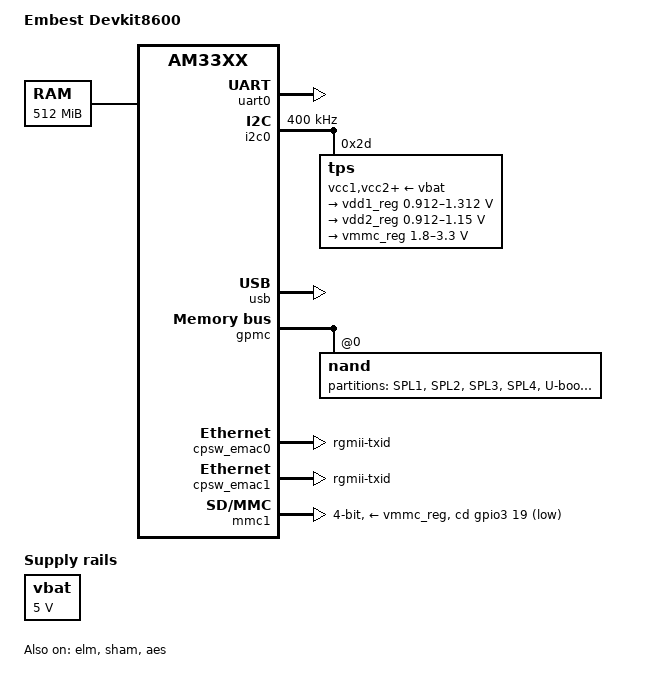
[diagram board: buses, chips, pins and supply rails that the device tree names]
/*
 * Copyright (C) 2012 Texas Instruments Incorporated - http://www.ti.com/
 *
 * This program is free software; you can redistribute it and/or modify
 * it under the terms of the GNU General Public License version 2 as
 * published by the Free Software Foundation.
 */
/dts-v1/;

#include "am33xx.dtsi"

/ {
	model = "Embest Devkit8600";
	compatible = "ti,devkit8600", "ti,am33xx";

	cpus {
		cpu@0 {
			cpu0-supply = <&vdd1_reg>;
		};
	};

	memory {
		device_type = "memory";
		reg = <0x80000000 0x20000000>; /* 512 MB */
	};

	vbat: fixedregulator@0 {
		compatible = "regulator-fixed";
		regulator-name = "vbat";
		regulator-min-microvolt = <5000000>;
		regulator-max-microvolt = <5000000>;
		regulator-boot-on;
	};
};

&am33xx_pinmux {
	pinctrl-names = "default";
	pinctrl-0 = <&matrix_keypad_s0 &volume_keys_s0 &clkout2_pin>;

	matrix_keypad_s0: matrix_keypad_s0 {
		pinctrl-single,pins = <
			0x54 (PIN_OUTPUT_PULLDOWN | MUX_MODE7)	/* gpmc_a5.gpio1_21 */
			0x58 (PIN_OUTPUT_PULLDOWN | MUX_MODE7)	/* gpmc_a6.gpio1_22 */
			0x64 (PIN_INPUT_PULLDOWN | MUX_MODE7)	/* gpmc_a9.gpio1_25 */
			0x68 (PIN_INPUT_PULLDOWN | MUX_MODE7)	/* gpmc_a10.gpio1_26 */
			0x6c (PIN_INPUT_PULLDOWN | MUX_MODE7)	/* gpmc_a11.gpio1_27 */
		>;
	};

	volume_keys_s0: volume_keys_s0 {
		pinctrl-single,pins = <
			0x150 (PIN_INPUT_PULLDOWN | MUX_MODE7)	/* spi0_sclk.gpio0_2 */
			0x154 (PIN_INPUT_PULLDOWN | MUX_MODE7)	/* spi0_d0.gpio0_3 */
		>;
	};

	i2c0_pins: pinmux_i2c0_pins {
		pinctrl-single,pins = <
			0x188 (PIN_INPUT_PULLUP | MUX_MODE0)	/* i2c0_sda.i2c0_sda */
			0x18c (PIN_INPUT_PULLUP | MUX_MODE0)	/* i2c0_scl.i2c0_scl */
		>;
	};

	i2c1_pins: pinmux_i2c1_pins {
		pinctrl-single,pins = <
			0x158 (PIN_INPUT_PULLUP | MUX_MODE2)	/* spi0_d1.i2c1_sda */
			0x15c (PIN_INPUT_PULLUP | MUX_MODE2)	/* spi0_cs0.i2c1_scl */
		>;
	};

	uart0_pins: pinmux_uart0_pins {
		pinctrl-single,pins = <
			0x170 (PIN_INPUT_PULLUP | MUX_MODE0)	/* uart0_rxd.uart0_rxd */
			0x174 (PIN_OUTPUT_PULLDOWN | MUX_MODE0)	/* uart0_txd.uart0_txd */
		>;
	};

	clkout2_pin: pinmux_clkout2_pin {
		pinctrl-single,pins = <
			0x1b4 (PIN_OUTPUT_PULLDOWN | MUX_MODE3)	/* xdma_event_intr1.clkout2 */
		>;
	};

	nandflash_pins_s0: nandflash_pins_s0 {
		pinctrl-single,pins = <
			0x0 (PIN_INPUT_PULLUP | MUX_MODE0)	/* gpmc_ad0.gpmc_ad0 */
			0x4 (PIN_INPUT_PULLUP | MUX_MODE0)	/* gpmc_ad1.gpmc_ad1 */
			0x8 (PIN_INPUT_PULLUP | MUX_MODE0)	/* gpmc_ad2.gpmc_ad2 */
			0xc (PIN_INPUT_PULLUP | MUX_MODE0)	/* gpmc_ad3.gpmc_ad3 */
			0x10 (PIN_INPUT_PULLUP | MUX_MODE0)	/* gpmc_ad4.gpmc_ad4 */
			0x14 (PIN_INPUT_PULLUP | MUX_MODE0)	/* gpmc_ad5.gpmc_ad5 */
			0x18 (PIN_INPUT_PULLUP | MUX_MODE0)	/* gpmc_ad6.gpmc_ad6 */
			0x1c (PIN_INPUT_PULLUP | MUX_MODE0)	/* gpmc_ad7.gpmc_ad7 */
			0x70 (PIN_INPUT_PULLUP | MUX_MODE0)	/* gpmc_wait0.gpmc_wait0 */
			0x74 (PIN_INPUT_PULLUP | MUX_MODE7)	/* gpmc_wpn.gpio0_30 */
			0x7c (PIN_OUTPUT | MUX_MODE0)		/* gpmc_csn0.gpmc_csn0  */
			0x90 (PIN_OUTPUT | MUX_MODE0)		/* gpmc_advn_ale.gpmc_advn_ale */
			0x94 (PIN_OUTPUT | MUX_MODE0)		/* gpmc_oen_ren.gpmc_oen_ren */
			0x98 (PIN_OUTPUT | MUX_MODE0)		/* gpmc_wen.gpmc_wen */
			0x9c (PIN_OUTPUT | MUX_MODE0)		/* gpmc_be0n_cle.gpmc_be0n_cle */
		>;
	};

	ecap0_pins: backlight_pins {
		pinctrl-single,pins = <
			0x164 0x0	/* eCAP0_in_PWM0_out.eCAP0_in_PWM0_out MODE0 */
		>;
	};

	cpsw_default: cpsw_default {
		pinctrl-single,pins = <
			/* Slave 1 */
			0x114 (PIN_OUTPUT_PULLDOWN | MUX_MODE2)	/* mii1_txen.rgmii1_tctl */
			0x118 (PIN_INPUT_PULLDOWN | MUX_MODE2)	/* mii1_rxdv.rgmii1_rctl */
			0x11c (PIN_OUTPUT_PULLDOWN | MUX_MODE2)	/* mii1_txd3.rgmii1_td3 */
			0x120 (PIN_OUTPUT_PULLDOWN | MUX_MODE2)	/* mii1_txd2.rgmii1_td2 */
			0x124 (PIN_OUTPUT_PULLDOWN | MUX_MODE2)	/* mii1_txd1.rgmii1_td1 */
			0x128 (PIN_OUTPUT_PULLDOWN | MUX_MODE2)	/* mii1_txd0.rgmii1_td0 */
			0x12c (PIN_OUTPUT_PULLDOWN | MUX_MODE2)	/* mii1_txclk.rgmii1_tclk */
			0x130 (PIN_INPUT_PULLDOWN | MUX_MODE2)	/* mii1_rxclk.rgmii1_rclk */
			0x134 (PIN_INPUT_PULLDOWN | MUX_MODE2)	/* mii1_rxd3.rgmii1_rd3 */
			0x138 (PIN_INPUT_PULLDOWN | MUX_MODE2)	/* mii1_rxd2.rgmii1_rd2 */
			0x13c (PIN_INPUT_PULLDOWN | MUX_MODE2)	/* mii1_rxd1.rgmii1_rd1 */
			0x140 (PIN_INPUT_PULLDOWN | MUX_MODE2)	/* mii1_rxd0.rgmii1_rd0 */
		>;
	};

	cpsw_sleep: cpsw_sleep {
		pinctrl-single,pins = <
			/* Slave 1 reset value */
			0x114 (PIN_INPUT_PULLDOWN | MUX_MODE7)
			0x118 (PIN_INPUT_PULLDOWN | MUX_MODE7)
			0x11c (PIN_INPUT_PULLDOWN | MUX_MODE7)
			0x120 (PIN_INPUT_PULLDOWN | MUX_MODE7)
			0x124 (PIN_INPUT_PULLDOWN | MUX_MODE7)
			0x128 (PIN_INPUT_PULLDOWN | MUX_MODE7)
			0x12c (PIN_INPUT_PULLDOWN | MUX_MODE7)
			0x130 (PIN_INPUT_PULLDOWN | MUX_MODE7)
			0x134 (PIN_INPUT_PULLDOWN | MUX_MODE7)
			0x138 (PIN_INPUT_PULLDOWN | MUX_MODE7)
			0x13c (PIN_INPUT_PULLDOWN | MUX_MODE7)
			0x140 (PIN_INPUT_PULLDOWN | MUX_MODE7)
		>;
	};

	davinci_mdio_default: davinci_mdio_default {
		pinctrl-single,pins = <
			/* MDIO */
			0x148 (PIN_INPUT_PULLUP | SLEWCTRL_FAST | MUX_MODE0)	/* mdio_data.mdio_data */
			0x14c (PIN_OUTPUT_PULLUP | MUX_MODE0)			/* mdio_clk.mdio_clk */
		>;
	};

	davinci_mdio_sleep: davinci_mdio_sleep {
		pinctrl-single,pins = <
			/* MDIO reset value */
			0x148 (PIN_INPUT_PULLDOWN | MUX_MODE7)
			0x14c (PIN_INPUT_PULLDOWN | MUX_MODE7)
		>;
	};

	mmc1_pins: pinmux_mmc1_pins {
		pinctrl-single,pins = <
			0x198 (PIN_INPUT | MUX_MODE7) /* GPIO3_19 */
		>;
	};

	am335x_evm_audio_pins: am335x_evm_audio_pins {
		pinctrl-single,pins = <
			0x10c (PIN_INPUT_PULLDOWN | MUX_MODE4) /* mii1_rx_dv.mcasp1_aclkx */
			0x110 (PIN_INPUT_PULLDOWN | MUX_MODE4) /* mii1_txd3.mcasp1_fsx */
			0x108 (PIN_OUTPUT_PULLDOWN | MUX_MODE4) /* mii1_col.mcasp1_axr2 */
			0x144 (PIN_INPUT_PULLDOWN | MUX_MODE4) /* rmii1_ref_clk.mcasp1_axr3 */
		>;
	};
};

&uart0 {
	pinctrl-names = "default";
	pinctrl-0 = <&uart0_pins>;

	status = "okay";
};

&i2c0 {
	pinctrl-names = "default";
	pinctrl-0 = <&i2c0_pins>;

	status = "okay";
	clock-frequency = <400000>;

	tps: tps@2d {
		reg = <0x2d>;
	};
};

&usb {
	status = "okay";

	control@44e10000 {
		status = "okay";
	};

	usb-phy@47401300 {
		status = "okay";
	};

	usb-phy@47401b00 {
		status = "okay";
	};

	usb@47401000 {
		status = "okay";
	};

	usb@47401800 {
		status = "okay";
		dr_mode = "host";
	};

	dma-controller@07402000  {
		status = "okay";
	};
};

&elm {
	status = "okay";
};

&gpmc {
	status = "okay";
	pinctrl-names = "default";
	pinctrl-0 = <&nandflash_pins_s0>;
	ranges = <0 0 0x08000000 0x10000000>;	/* CS0: NAND */
	nand@0,0 {
		reg = <0 0 0>; /* CS0, offset 0 */
		nand-bus-width = <8>;
		ti,nand-ecc-opt = "bch8";
		gpmc,device-nand = "true";
		gpmc,device-width = <1>;
		gpmc,sync-clk-ps = <0>;
		gpmc,cs-on-ns = <0>;
		gpmc,cs-rd-off-ns = <44>;
		gpmc,cs-wr-off-ns = <44>;
		gpmc,adv-on-ns = <6>;
		gpmc,adv-rd-off-ns = <34>;
		gpmc,adv-wr-off-ns = <44>;
		gpmc,we-on-ns = <0>;
		gpmc,we-off-ns = <40>;
		gpmc,oe-on-ns = <0>;
		gpmc,oe-off-ns = <54>;
		gpmc,access-ns = <64>;
		gpmc,rd-cycle-ns = <82>;
		gpmc,wr-cycle-ns = <82>;
		gpmc,wait-on-read = "true";
		gpmc,wait-on-write = "true";
		gpmc,bus-turnaround-ns = <0>;
		gpmc,cycle2cycle-delay-ns = <0>;
		gpmc,clk-activation-ns = <0>;
		gpmc,wait-monitoring-ns = <0>;
		gpmc,wr-access-ns = <40>;
		gpmc,wr-data-mux-bus-ns = <0>;

		#address-cells = <1>;
		#size-cells = <1>;
		elm_id = <&elm>;

		/* MTD partition table */
		partition@0 {
			label = "SPL1";
			reg = <0x00000000 0x000020000>;
		};

		partition@1 {
			label = "SPL2";
			reg = <0x00020000 0x00020000>;
		};

		partition@2 {
			label = "SPL3";
			reg = <0x00040000 0x00020000>;
		};

		partition@3 {
			label = "SPL4";
			reg = <0x00060000 0x00020000>;
		};

		partition@4 {
			label = "U-boot";
			reg = <0x00080000 0x001e0000>;
		};

		partition@5 {
			label = "environment";
			reg = <0x00260000 0x00020000>;
		};

		partition@6 {
			label = "Kernel";
			reg = <0x00280000 0x00500000>;
		};

		partition@7 {
			label = "File-System";
			reg = <0x00780000 0x0F880000>;
		};
	};
};

#include "tps65910.dtsi"

&tps {
	vcc1-supply = <&vbat>;
	vcc2-supply = <&vbat>;
	vcc3-supply = <&vbat>;
	vcc4-supply = <&vbat>;
	vcc5-supply = <&vbat>;
	vcc6-supply = <&vbat>;
	vcc7-supply = <&vbat>;
	vccio-supply = <&vbat>;

	regulators {
		vrtc_reg: regulator@0 {
			regulator-always-on;
		};

		vio_reg: regulator@1 {
			regulator-always-on;
		};

		vdd1_reg: regulator@2 {
			/* VDD_MPU voltage limits 0.95V - 1.26V with +/-4% tolerance */
			regulator-name = "vdd_mpu";
			regulator-min-microvolt = <912500>;
			regulator-max-microvolt = <1312500>;
			regulator-boot-on;
			regulator-always-on;
		};

		vdd2_reg: regulator@3 {
			/* VDD_CORE voltage limits 0.95V - 1.1V with +/-4% tolerance */
			regulator-name = "vdd_core";
			regulator-min-microvolt = <912500>;
			regulator-max-microvolt = <1150000>;
			regulator-boot-on;
			regulator-always-on;
		};

		vdd3_reg: regulator@4 {
			regulator-always-on;
		};

		vdig1_reg: regulator@5 {
			regulator-always-on;
		};

		vdig2_reg: regulator@6 {
			regulator-always-on;
		};

		vpll_reg: regulator@7 {
			regulator-always-on;
		};

		vdac_reg: regulator@8 {
			regulator-always-on;
		};

		vaux1_reg: regulator@9 {
			regulator-always-on;
		};

		vaux2_reg: regulator@10 {
			regulator-always-on;
		};

		vaux33_reg: regulator@11 {
			regulator-always-on;
		};

		vmmc_reg: regulator@12 {
			regulator-min-microvolt = <1800000>;
			regulator-max-microvolt = <3300000>;
			regulator-always-on;
		};
	};
};

&mac {
	pinctrl-names = "default", "sleep";
	pinctrl-0 = <&cpsw_default>;
	pinctrl-1 = <&cpsw_sleep>;
};

&davinci_mdio {
	pinctrl-names = "default", "sleep";
	pinctrl-0 = <&davinci_mdio_default>;
	pinctrl-1 = <&davinci_mdio_sleep>;
};

&cpsw_emac0 {
	phy_id = <&davinci_mdio>, <4>;
	phy-mode = "rgmii-txid";
};

&cpsw_emac1 {
	phy_id = <&davinci_mdio>, <6>;
	phy-mode = "rgmii-txid";
};

&mmc1 {
	status = "okay";
	vmmc-supply = <&vmmc_reg>;
	bus-width = <4>;
	pinctrl-names = "default";
	pinctrl-0 = <&mmc1_pins>;
	cd-gpios = <&gpio3 19 GPIO_ACTIVE_HIGH>;
	cd-inverted;
};

&sham {
	status = "okay";
};

&aes {
	status = "okay";
};
